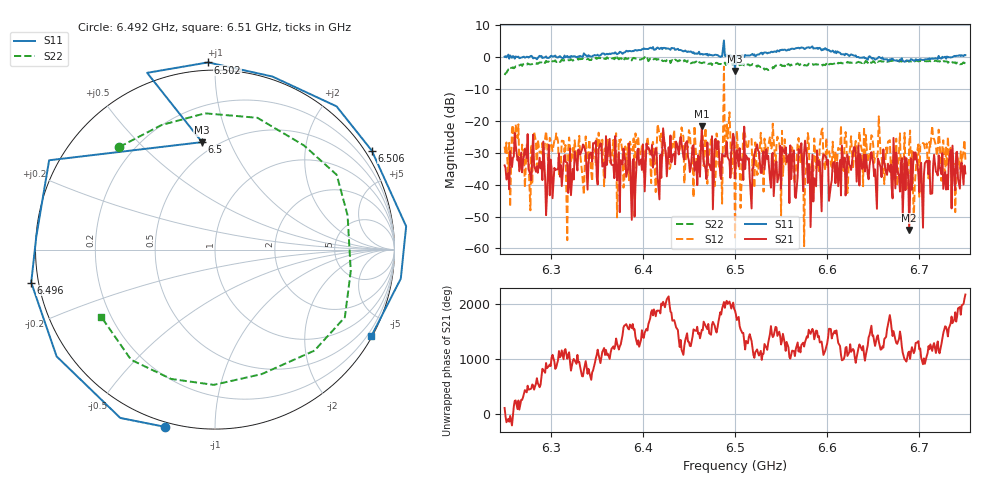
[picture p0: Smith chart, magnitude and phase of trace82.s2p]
# Hz S RI R 50
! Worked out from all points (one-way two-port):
!   401 points, 6.25 GHz to 6.75 GHz, reference 50 ohm
!   highest |S21| = -21.65 dB at 6.464 GHz (marker M1); lowest = -54.2 dB at 6.689 GHz (marker M2)
!   lowest |S11| = -4.4 dB at 6.5 GHz (marker M3), VSWR 4.04, Z = 21.1 + j39.7 ohm
!   |S11| at or under -10 dB: nowhere
!   |S22| runs from -5.6 to -0.1 dB; largest |S21 - S12| = 0.72
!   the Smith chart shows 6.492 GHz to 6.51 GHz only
!   S11 on the Smith chart (normalised r, x): 6.492 GHz: -0.02, -0.76; 6.496 GHz: -0.02, -0.09; 6.5 GHz: 0.42, +0.79; 6.502 GHz: -0.04, +0.96; 6.506 GHz: -0.21, +3.45; 6.51 GHz: 0.03, -3.86
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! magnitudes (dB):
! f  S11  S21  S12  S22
! 6.25 GHz  0.1  -34.0  -28.1  -5.6
! 6.275 GHz  0.0  -24.2  -33.0  -2.0
! 6.296 GHz  -0.3  -43.3  -26.4  -1.5
! 6.334 GHz  0.0  -29.0  -36.0  -0.6
! 6.411 GHz  3.1  -34.7  -26.6  -1.0
! 6.418 GHz  2.5  -44.6  -24.1  -0.7
! 6.464 GHz  1.0  -21.7  -24.6  -2.0
! 6.484 GHz  0.0  -37.1  -35.3  -2.2
! 6.492 GHz  0.2  -31.4  -25.6  -2.1
! 6.496 GHz  0.3  -29.6  -36.6  -2.3
! 6.5 GHz  -4.4  -38.1  -56.6  -2.3
! 6.502 GHz  0.4  -29.2  -23.2  -1.8
! 6.506 GHz  0.3  -32.3  -47.3  -2.5
! 6.51 GHz  0.0  -21.8  -23.5  -2.7
! 6.524 GHz  0.7  -27.4  -37.0  -3.1
! 6.57 GHz  2.7  -30.1  -29.7  -2.6
! 6.574 GHz  2.9  -42.1  -34.0  -2.1
! 6.584 GHz  3.3  -30.6  -31.8  -2.3
! 6.598 GHz  2.8  -31.0  -35.6  -2.6
! 6.668 GHz  -0.8  -36.0  -26.1  -1.3
! 6.689 GHz  -1.3  -54.2  -27.2  -1.5
! 6.75 GHz  0.6  -36.5  -32.3  -2.0
